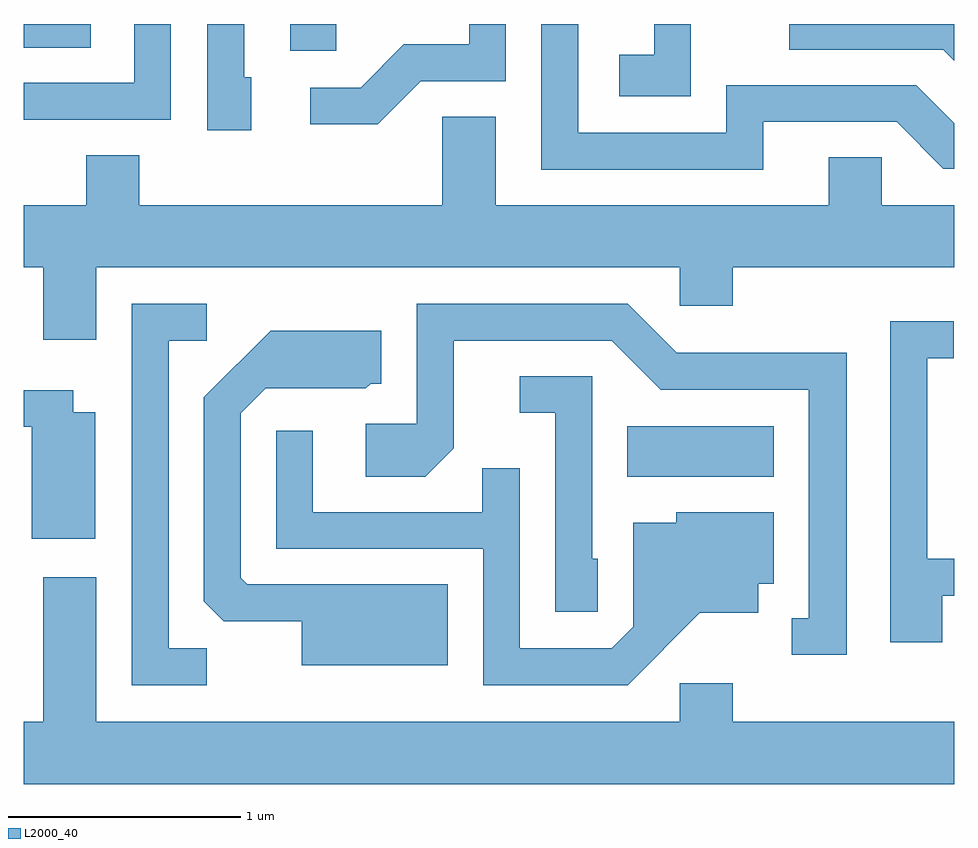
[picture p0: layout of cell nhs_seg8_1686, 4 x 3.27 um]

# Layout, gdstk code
import gdstk
lib = gdstk.Library(unit=1e-6, precision=1e-09)
def R(c, l, rs):  # rectangles x0, y0, x1, y1
    for r in rs: c.add(gdstk.rectangle(r[:2], r[2:], *l))
def P(c, l, *ps):  # polygons
    for p in ps: c.add(gdstk.Polygon(p, *l))
L2000_40 = (2000, 40)

nhs_seg8_1686 = lib.new_cell('nhs_seg8_1686')
R(nhs_seg8_1686, L2000_40, [(238.206,1844.396,238.834,1844.614), (236.756,1846.226,236.954,1846.342), (235.611,1846.241,235.899,1846.342)])
P(nhs_seg8_1686, L2000_40, [(236.244,1846.342),(236.086,1846.342),(236.086,1846.089),(235.611,1846.089),(235.611,1845.931),(236.244,1845.931)],
  [(236.589,1846.114),(236.559,1846.114),(236.559,1846.342),(236.401,1846.342),(236.401,1845.886),(236.589,1845.886)],
  [(238.789,1845.921),(239.364,1845.921),(239.564,1845.721),(239.611,1845.721),(239.611,1845.915),(239.447,1846.079),(238.631,1846.079),(238.631,1845.874),(237.994,1845.874),(237.994,1846.342),(237.836,1846.342),(237.836,1845.716),(238.789,1845.716)],
  [(238.479,1846.342),(238.321,1846.342),(238.321,1846.209),(238.171,1846.209),(238.171,1846.031),(238.479,1846.031)],
  [(239.611,1846.342),(238.901,1846.342),(238.901,1846.231),(239.564,1846.231),(239.611,1846.184)],
  [(237.317,1846.096),(237.684,1846.096),(237.684,1846.342),(237.526,1846.342),(237.526,1846.254),(237.244,1846.254),(237.059,1846.069),(236.843,1846.069),(236.843,1845.911),(237.132,1845.911)],
  [(239.071,1845.769),(239.071,1845.564),(237.639,1845.564),(237.639,1845.944),(237.411,1845.944),(237.411,1845.564),(236.109,1845.564),(236.109,1845.779),(235.881,1845.779),(235.881,1845.564),(235.611,1845.564),(235.611,1845.296),(235.696,1845.296),(235.696,1844.986),(235.924,1844.986),(235.924,1845.296),(238.431,1845.296),(238.431,1845.131),(238.659,1845.131),(238.659,1845.296),(239.611,1845.296),(239.611,1845.564),(239.299,1845.564),(239.299,1845.769)],
  [(236.398,1843.659),(236.234,1843.659),(236.234,1844.981),(236.398,1844.981),(236.398,1845.139),(236.076,1845.139),(236.076,1843.501),(236.398,1843.501)],
  [(239.149,1844.929),(238.417,1844.929),(238.207,1845.139),(237.301,1845.139),(237.301,1844.624),(237.081,1844.624),(237.081,1844.396),(237.337,1844.396),(237.459,1844.519),(237.459,1844.981),(238.139,1844.981),(238.349,1844.771),(238.986,1844.771),(238.986,1843.789),(238.913,1843.789),(238.913,1843.631),(239.149,1843.631)],
  [(239.559,1843.886),(239.611,1843.886),(239.611,1844.044),(239.494,1844.044),(239.494,1844.906),(239.608,1844.906),(239.608,1845.064),(239.336,1845.064),(239.336,1843.686),(239.559,1843.686)],
  [(237.434,1843.934),(236.572,1843.934),(236.544,1843.962),(236.544,1844.669),(236.652,1844.776),(237.082,1844.776),(237.102,1844.796),(237.149,1844.796),(237.149,1845.024),(236.674,1845.024),(236.386,1844.737),(236.386,1843.862),(236.472,1843.776),(236.806,1843.776),(236.806,1843.586),(237.434,1843.586)],
  [(238.079,1844.044),(238.054,1844.044),(238.054,1844.829),(237.743,1844.829),(237.743,1844.671),(237.896,1844.671),(237.896,1843.816),(238.079,1843.816)],
  [(235.919,1844.674),(235.824,1844.674),(235.824,1844.769),(235.611,1844.769),(235.611,1844.611),(235.646,1844.611),(235.646,1844.131),(235.919,1844.131)],
  [(238.517,1843.811),(238.769,1843.811),(238.769,1843.936),(238.834,1843.936),(238.834,1844.244),(238.416,1844.244),(238.416,1844.199),(238.231,1844.199),(238.231,1843.752),(238.139,1843.659),(237.744,1843.659),(237.744,1844.433),(237.581,1844.433),(237.581,1844.244),(236.854,1844.244),(236.854,1844.593),(236.696,1844.593),(236.696,1844.086),(237.586,1844.086),(237.586,1843.501),(238.207,1843.501)],
  [(239.611,1843.344),(238.659,1843.344),(238.659,1843.509),(238.431,1843.509),(238.431,1843.344),(235.924,1843.344),(235.924,1843.964),(235.696,1843.964),(235.696,1843.344),(235.611,1843.344),(235.611,1843.076),(239.611,1843.076)])

lib.write_gds('nhs_seg8_1686.gds')
